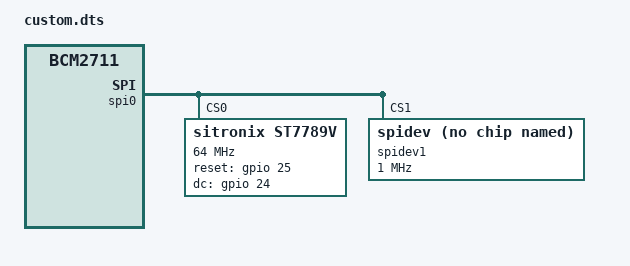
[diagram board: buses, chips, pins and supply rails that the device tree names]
/dts-v1/;
/plugin/;

/ {
    compatible = "brcm,bcm2711";

    fragment@0 {
    target = <&spi0>;
    __overlay__ {
        #address-cells = <1>;
        #size-cells = <0>;
        status = "okay";

        // Display on CE0
        st7789v: st7789v@0 {
            compatible = "sitronix,st7789v";
            reg = <0>;
            spi-max-frequency = <64000000>;

            reset-gpios = <&gpio 25 0>;
            dc-gpios    = <&gpio 24 0>;
            rotation    = <90>;
        };

        // PN532 on CE1 (THIS is what you were missing effectively)
        spidev1: spidev@1 {
            compatible = "spidev";
            reg = <1>;
            spi-max-frequency = <1000000>;
            status = "okay";
        };
    };
};

    /*
    fragment@1 {
        target-path = "/";
        __overlay__ {
            backlight: backlight {
                compatible = "gpio-backlight";
                gpios = <&gpio 18 0>;
                default-on;
            };
        };
    };*/

    fragment@2 {
        target = <&spidev0>;
        __overlay__ { status = "disabled"; };
    };
};
